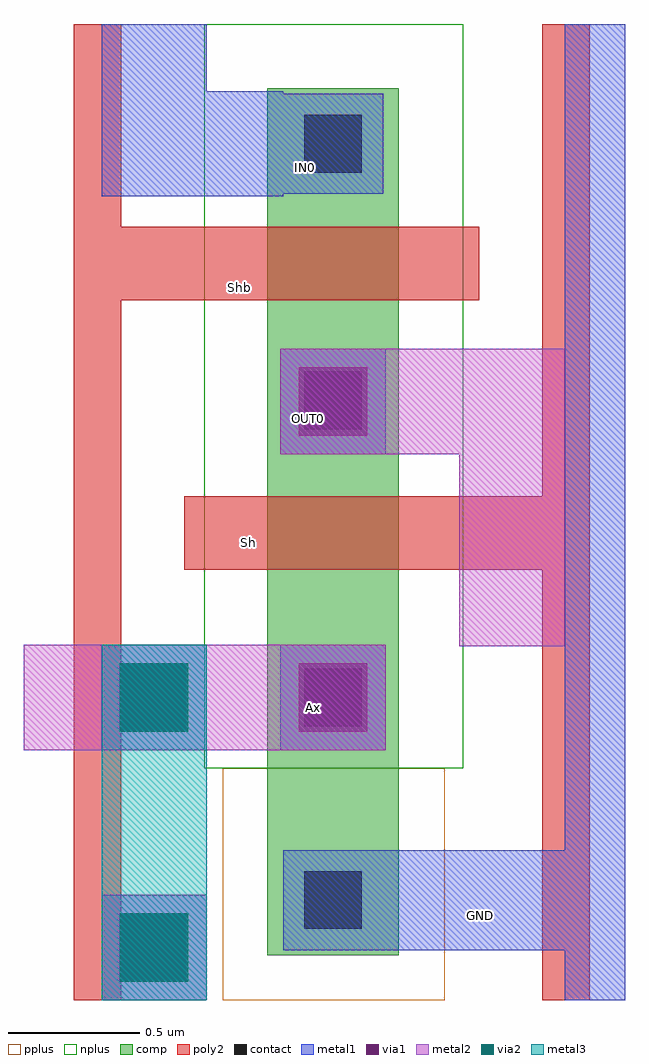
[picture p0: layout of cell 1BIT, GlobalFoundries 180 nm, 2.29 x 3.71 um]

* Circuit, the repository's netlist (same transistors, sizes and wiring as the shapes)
** sch_path: /foss/designs/ENGN1600-CAD5/1BIT.sch
.subckt 1BIT Sh Shb OUT IN1 IN0
*.PININFO Sh:I Shb:I OUT:O IN1:I IN0:I
M2 OUT Sh IN0 GND nfet_03v3 L=0.28u W=0.5u nf=1 m=1
M1 OUT Shb IN1 GND nfet_03v3 L=0.28u W=0.5u nf=1 m=1
.ends
.GLOBAL GND

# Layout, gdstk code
import gdstk
lib = gdstk.Library(unit=1e-6, precision=5e-09)
def R(c, l, rs):  # rectangles x0, y0, x1, y1
    for r in rs: c.add(gdstk.rectangle(r[:2], r[2:], *l))
comp = (22, 0)
poly2 = (30, 0)
pplus = (31, 0)
nplus = (32, 0)
contact = (33, 0)
metal1 = (34, 0)
via1 = (35, 0)
metal2 = (36, 0)
via2 = (38, 0)
metal3 = (42, 0)

via_dev = lib.new_cell('via_dev')
R(via_dev, metal1, [(0,0,0.4,0.4)])
R(via_dev, via1, [(0.07,0.07,0.33,0.33)])
R(via_dev, metal2, [(0,0,0.4,0.4)])
R(via_dev, via2, [(0.07,0.07,0.33,0.33)])
R(via_dev, metal3, [(0,0,0.4,0.4)])

via_dev_1 = lib.new_cell('via_dev$1')
R(via_dev_1, metal1, [(0,0,0.4,0.4)])
R(via_dev_1, via1, [(0.07,0.07,0.33,0.33)])
R(via_dev_1, metal2, [(0,0,0.4,0.4)])

c_1bit = lib.new_cell('1BIT')
R(c_1bit, comp, [(-0.485,0.425,0.015,3.72)])
R(c_1bit, poly2, [(-1.22,0.255,-1.04,3.965), (0.56,0.255,0.74,3.965), (-0.8,1.89,0.56,2.17), (-1.04,2.915,0.32,3.195)])
R(c_1bit, pplus, [(-0.655,0.255,0.19,1.135)])
R(c_1bit, nplus, [(-0.725,1.135,0.26,3.965)])
R(c_1bit, contact, [(-0.345,0.525,-0.125,0.745), (-0.345,1.295,-0.125,1.515), (-0.345,2.425,-0.125,2.645), (-0.345,2.425,-0.125,2.645), (-0.345,3.4,-0.125,3.62)])
R(c_1bit, metal1, [(0.645,0.255,0.875,3.965), (-0.425,0.445,-0.045,0.825), (-0.045,0.445,0.645,0.825), (-0.425,1.215,-0.045,1.595), (-0.425,2.345,-0.045,2.725), (-0.425,2.345,-0.045,2.725), (-1.115,3.31,-0.425,3.71), (-0.425,3.32,-0.045,3.7), (-1.115,3.71,-0.715,3.965)])
R(c_1bit, metal2, [(-1.41,1.205,-0.435,1.605), (0.245,1.6,0.645,2.33), (-0.035,2.33,0.645,2.73)])
R(c_1bit, metal3, [(-1.115,0.255,-0.715,1.205)])
c_1bit.add(gdstk.Reference(via_dev, (-1.115,1.205)))
c_1bit.add(gdstk.Reference(via_dev_1, (-0.435,2.33)))
c_1bit.add(gdstk.Reference(via_dev_1, (-0.435,1.205)))
c_1bit.add(gdstk.Reference(via_dev, (-1.115,0.255)))
c_1bit.add(gdstk.Label('GND', (0.325,0.575), layer=34, texttype=10))
c_1bit.add(gdstk.Label('IN0', (-0.34,3.42), layer=34, texttype=10))
c_1bit.add(gdstk.Label('OUT0', (-0.33,2.465), layer=34, texttype=10))
c_1bit.add(gdstk.Label('Ax', (-0.31,1.365), layer=34, texttype=10))
c_1bit.add(gdstk.Label('Shb', (-0.59,2.965), layer=30, texttype=10))
c_1bit.add(gdstk.Label('Sh', (-0.555,1.995), layer=30, texttype=10))

lib.write_gds('1BIT.gds')
